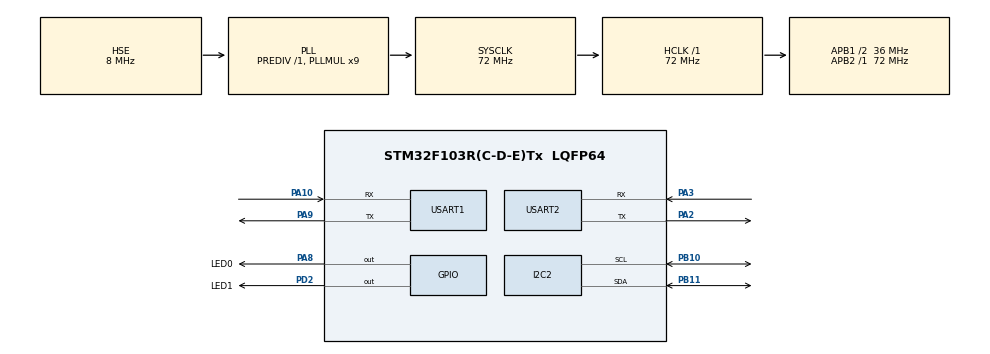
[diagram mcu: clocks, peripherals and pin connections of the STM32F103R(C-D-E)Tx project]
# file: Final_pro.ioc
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Dma.Request0=USART2_RX
Dma.Request1=USART2_TX
Dma.Request2=USART1_TX
Dma.Request3=USART1_RX
Dma.USART1_RX.3.Direction=DMA_PERIPH_TO_MEMORY
Dma.USART1_RX.3.Instance=DMA1_Channel5
Dma.USART1_RX.3.MemDataAlignment=DMA_MDATAALIGN_BYTE
Dma.USART1_RX.3.MemInc=DMA_MINC_ENABLE
Dma.USART1_RX.3.Mode=DMA_NORMAL
Dma.USART1_RX.3.PeriphDataAlignment=DMA_PDATAALIGN_BYTE
Dma.USART1_RX.3.PeriphInc=DMA_PINC_DISABLE
Dma.USART1_RX.3.Priority=DMA_PRIORITY_LOW
Dma.USART1_TX.2.Direction=DMA_MEMORY_TO_PERIPH
Dma.USART1_TX.2.Instance=DMA1_Channel4
Dma.USART1_TX.2.MemDataAlignment=DMA_MDATAALIGN_BYTE
Dma.USART1_TX.2.MemInc=DMA_MINC_ENABLE
Dma.USART1_TX.2.Mode=DMA_NORMAL
Dma.USART1_TX.2.PeriphDataAlignment=DMA_PDATAALIGN_BYTE
Dma.USART1_TX.2.PeriphInc=DMA_PINC_DISABLE
Dma.USART1_TX.2.Priority=DMA_PRIORITY_LOW
Dma.USART2_RX.0.Direction=DMA_PERIPH_TO_MEMORY
Dma.USART2_RX.0.Instance=DMA1_Channel6
Dma.USART2_RX.0.MemDataAlignment=DMA_MDATAALIGN_BYTE
Dma.USART2_RX.0.MemInc=DMA_MINC_ENABLE
Dma.USART2_RX.0.Mode=DMA_NORMAL
Dma.USART2_RX.0.PeriphDataAlignment=DMA_PDATAALIGN_BYTE
Dma.USART2_RX.0.PeriphInc=DMA_PINC_DISABLE
Dma.USART2_RX.0.Priority=DMA_PRIORITY_LOW
Dma.USART2_TX.1.Direction=DMA_MEMORY_TO_PERIPH
Dma.USART2_TX.1.Instance=DMA1_Channel7
Dma.USART2_TX.1.MemDataAlignment=DMA_MDATAALIGN_BYTE
Dma.USART2_TX.1.MemInc=DMA_MINC_ENABLE
Dma.USART2_TX.1.Mode=DMA_NORMAL
Dma.USART2_TX.1.PeriphDataAlignment=DMA_PDATAALIGN_BYTE
Dma.USART2_TX.1.PeriphInc=DMA_PINC_DISABLE
Dma.USART2_TX.1.Priority=DMA_PRIORITY_LOW
Mcu.Family=STM32F1
Mcu.Name=STM32F103R(C-D-E)Tx
Mcu.Package=LQFP64
NVIC.DMA1_Channel4_IRQn=true\:0\:0\:false\:false\:true\:false\:true
NVIC.DMA1_Channel5_IRQn=true\:0\:0\:false\:false\:true\:false\:true
NVIC.DMA1_Channel6_IRQn=true\:1\:0\:true\:false\:true\:false\:true
NVIC.DMA1_Channel7_IRQn=true\:0\:0\:false\:false\:true\:false\:true
NVIC.PriorityGroup=NVIC_PRIORITYGROUP_4
NVIC.TIM2_IRQn=true\:0\:0\:false\:false\:true\:true\:true
NVIC.USART1_IRQn=true\:0\:0\:false\:false\:true\:true\:true
NVIC.USART2_IRQn=true\:0\:0\:false\:false\:true\:true\:true
PA10.Mode=Asynchronous
PA10.Signal=USART1_RX
PA13.Mode=Serial_Wire
PA13.Signal=SYS_JTMS-SWDIO
PA14.Mode=Serial_Wire
PA14.Signal=SYS_JTCK-SWCLK
PA2.Mode=Asynchronous
PA2.Signal=USART2_TX
PA3.Mode=Asynchronous
PA3.Signal=USART2_RX
PA8.GPIO_Label=LED0
PA8.Signal=GPIO_Output
PA9.Mode=Asynchronous
PA9.Signal=USART1_TX
PB10.Mode=I2C
PB10.Signal=I2C2_SCL
PB11.Mode=I2C
PB11.Signal=I2C2_SDA
PD0-OSC_IN.Mode=HSE-External-Oscillator
PD0-OSC_IN.Signal=RCC_OSC_IN
PD1-OSC_OUT.Mode=HSE-External-Oscillator
PD1-OSC_OUT.Signal=RCC_OSC_OUT
PD2.GPIO_Label=LED1
PD2.Signal=GPIO_Output
ProjectManager.HeapSize=0x200
ProjectManager.StackSize=0x400
ProjectManager.TargetToolchain=STM32CubeIDE
RCC.AHBFreq_Value=72000000
RCC.APB1CLKDivider=RCC_HCLK_DIV2
RCC.APB1Freq_Value=36000000
RCC.APB1TimFreq_Value=72000000
RCC.APB2Freq_Value=72000000
RCC.APB2TimFreq_Value=72000000
RCC.HCLKFreq_Value=72000000
RCC.PLLMUL=RCC_PLL_MUL9
RCC.PLLSourceVirtual=RCC_PLLSOURCE_HSE
RCC.SYSCLKFreq_VALUE=72000000
RCC.SYSCLKSource=RCC_SYSCLKSOURCE_PLLCLK
RCC.USBFreq_Value=72000000
TIM2.Period=4999
TIM2.Prescaler=7199
USART1.VirtualMode=VM_ASYNC
USART2.VirtualMode=VM_ASYNC
VP_TIM2_VS_ClockSourceINT.Mode=Internal
board=custom

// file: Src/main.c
/* USER CODE BEGIN Header */
/**
 ******************************************************************************
 * @file           : main.c
 * @brief          : Main program body
 ******************************************************************************
 * @attention
 *
 * <h2><center>&copy; Copyright (c) 2019 STMicroelectronics.
 * All rights reserved.</center></h2>
 *
 * This software component is licensed by ST under BSD 3-Clause license,
 * the "License"; You may not use this file except in compliance with the
 * License. You may obtain a copy of the License at:
 *                        opensource.org/licenses/BSD-3-Clause
 *
 ******************************************************************************
 */
/* USER CODE END Header */

#include "main.h"
#include "dma.h"
#include "i2c.h"
#include "tim.h"
#include "usart.h"
#include "gpio.h"

/* USER CODE BEGIN Includes */
#include "MQTTPacket.h"
#include "ESP8266Client.h"
#include "MQTTPacket.h"
#include "transport.h"
#include "networkwrapper.h"
#include "stdio.h"
#include "fifo.h"
#include "bh1750_i2c_drv.h"
#include "topic_name_helper.h"
#include "wifi_credentials.h"
/* USER CODE END Includes */

/* USER CODE BEGIN PD */
//#define SERVER_ADDR ("129.226.168.220")
#define CONNECTION_KEEPALIVE_S 60UL
#define PUB_WAIT_TIMEOUT 200UL //ms
#define PUB_WAIT_TICK 5UL //ms
/* USER CODE END PD */

/* USER CODE BEGIN PM */
PUTCHAR_PROTO //重写fputc函数
{
	HAL_UART_Transmit(&huart1, (uint8_t*) &ch, 1, 0xffff);
	return ch;
}
/* USER CODE END PM */

/* USER CODE BEGIN PV */
uint8_t rxBuffer[RX_BUFFER_SIZE] = { 0 };
uint8_t debugSentBuffer[RX_BUFFER_SIZE];
extern UART_HandleTypeDef huart1;
extern UART_HandleTypeDef huart2;
extern TIM_HandleTypeDef htim2;
int recv_end_flag = 0;
int rx_len = 0;
struct fifo rxFifo;
uint8_t dat[2] = { 0 };
int ledMode = 2;
int ledSwitch = 0;
int lightSensorValue = 0;
int ledStatus = 0;
int MQTT_connected = 0;
/* USER CODE END PV */

void SystemClock_Config(void);
/* USER CODE BEGIN PFP */
void MqttHandlerTask();
int lightSensorLux();
void updateDeviceInfo();
/* USER CODE END PFP */

/* USER CODE BEGIN 0 */
long unsigned int network_gettime_ms(void) {
	return (HAL_GetTick());
}
/* USER CODE END 0 */

int main(void)
{

  /* MCU Configuration--------------------------------------------------------*/

  /* Reset of all peripherals, Initializes the Flash interface and the Systick. */
  HAL_Init();

  /* Configure the system clock */
  SystemClock_Config();

  /* Initialize all configured peripherals */
  MX_GPIO_Init();
  MX_I2C2_Init();
  MX_USART1_UART_Init();
  MX_DMA_Init();
  MX_USART2_UART_Init();
  MX_TIM2_Init();
  /* USER CODE BEGIN 2 */
	// HAL_UART_Receive_IT(&huart5, (uint8_t *)rxBuffer, 8);
	HAL_TIM_Base_Start_IT(&htim2);
	fifo_alloc(&rxFifo, FIFO_BUFFER_SIZE);
	HAL_UART_Receive_DMA(&huart2, rxBuffer, RX_BUFFER_SIZE);
	__HAL_UART_ENABLE_IT(&huart2, UART_IT_IDLE);
  /* USER CODE END 2 */

  /* Infinite loop */
  /* USER CODE BEGIN WHILE */
	HAL_GPIO_WritePin(LED0_GPIO_Port, LED1_Pin, SET);
	MqttHandlerTask();
	while (1) {
    /* USER CODE END WHILE */

	}
}

void SystemClock_Config(void)
{
  RCC_OscInitTypeDef RCC_OscInitStruct = {0};
  RCC_ClkInitTypeDef RCC_ClkInitStruct = {0};

  /** Initializes the CPU, AHB and APB busses clocks
  */
  RCC_OscInitStruct.OscillatorType = RCC_OSCILLATORTYPE_HSE;
  RCC_OscInitStruct.HSEState = RCC_HSE_ON;
  RCC_OscInitStruct.HSEPredivValue = RCC_HSE_PREDIV_DIV1;
  RCC_OscInitStruct.HSIState = RCC_HSI_ON;
  RCC_OscInitStruct.PLL.PLLState = RCC_PLL_ON;
  RCC_OscInitStruct.PLL.PLLSource = RCC_PLLSOURCE_HSE;
  RCC_OscInitStruct.PLL.PLLMUL = RCC_PLL_MUL9;
  if (HAL_RCC_OscConfig(&RCC_OscInitStruct) != HAL_OK)
  {
    Error_Handler();
  }
  /** Initializes the CPU, AHB and APB busses clocks
  */
  RCC_ClkInitStruct.ClockType = RCC_CLOCKTYPE_HCLK|RCC_CLOCKTYPE_SYSCLK
                              |RCC_CLOCKTYPE_PCLK1|RCC_CLOCKTYPE_PCLK2;
  RCC_ClkInitStruct.SYSCLKSource = RCC_SYSCLKSOURCE_PLLCLK;
  RCC_ClkInitStruct.AHBCLKDivider = RCC_SYSCLK_DIV1;
  RCC_ClkInitStruct.APB1CLKDivider = RCC_HCLK_DIV2;
  RCC_ClkInitStruct.APB2CLKDivider = RCC_HCLK_DIV1;

  if (HAL_RCC_ClockConfig(&RCC_ClkInitStruct, FLASH_LATENCY_2) != HAL_OK)
  {
    Error_Handler();
  }
}

/* USER CODE BEGIN 4 */
void MqttHandlerTask() {
	/* USER CODE BEGIN MqttHandlerTask */

	unsigned char buffer[128];
	MQTTTransport transporter;
	int result;
	int length;
	int startTime = HAL_GetTick();
	// Transport layer uses the esp8266 networkwrapper.
	static transport_iofunctions_t iof = { network_send, network_recv };
	int transport_socket = transport_open(&iof);

	// State machine.
	int internalState = 0;
	while (true) {
		switch (internalState) {
		case 0: {
			MQTT_connected = 0;
			// Initialize the network and connect to
			network_init();
			if (network_connect(SERVER_ADDR, 1883, CONNECTION_KEEPALIVE_S,
			false) == 0) {
				// To the next state.
				internalState++;
			}
		}
			break;
		case 1: {
			MQTT_connected = 0;
			// Populate the transporter.
			transporter.sck = &transport_socket;
			transporter.getfn = transport_getdatanb;
			transporter.state = 0;

			// Populate the connect struct.
			MQTTPacket_connectData connectData =
			MQTTPacket_connectData_initializer;
			connectData.MQTTVersion = 3;
			connectData.clientID.cstring = "LightSensor";
			connectData.keepAliveInterval = CONNECTION_KEEPALIVE_S * 2;
			length = MQTTSerialize_connect(buffer, sizeof(buffer),
					&connectData);

			// Send CONNECT to the mqtt broker.
			if ((result = transport_sendPacketBuffer(transport_socket, buffer,
					length)) == length) {
				// To the next state.
				internalState++;
			} else {
				// Start over.
				internalState = 0;
			}
		}
			break;
		case 2: {
			// Wait for CONNACK response from the mqtt broker.
			MQTT_connected = 0;
			while (true) {
				// Wait until the transfer is done.
				if ((result = MQTTPacket_readnb(buffer, sizeof(buffer),
						&transporter)) == CONNACK) {
					// Check if the connection was accepted.
					unsigned char sessionPresent, connack_rc;
					if ((MQTTDeserialize_connack(&sessionPresent, &connack_rc,
							buffer, sizeof(buffer)) != 1)
							|| (connack_rc != 0)) {
						// Start over.
						internalState = 0;
						break;
					} else {
						// To the next state.
						internalState++;
						break;
					}
				} else if (result == -1) {
					// Start over.
					internalState = 0;
					break;
				}
			}
		}
			break;
		case 3: {
			MQTT_connected = 0;
			// Populate the publish message.
			MQTTString leds_TopicString = MQTTString_initializer;
			MQTTString mode_TopicString = MQTTString_initializer;
			leds_TopicString.cstring = "leds";
			mode_TopicString.cstring = "mode";
			MQTTString topicFilters[2] = { leds_TopicString, mode_TopicString };
			int rQos[2] = { 0 };
			// length = MQTTSerialize_publish(buffer, sizeof(buffer), 0, 1, 0, 0,
			//                                topicString, payload, (length = sprintf(payload, "%d", lightSensorLux())));
			length = MQTTSerialize_subscribe(buffer, sizeof(buffer), 0, 9527, 2,
					topicFilters, rQos);

			// Send SUBSCRIBE to the mqtt broker.
			if ((result = transport_sendPacketBuffer(transport_socket, buffer,
					length)) == length) {
				// To the next state.
				internalState++;
				break;
			} else {
				// Start over.
				internalState = 0;
			}
		}
			break;
		case 4: {
			MQTT_connected = 0;
			// Wait for SUBACK response from the mqtt broker.
			while (true) {
				memset(buffer, 0, sizeof(buffer));
				// Wait until the transfer is done.
				if ((result = MQTTPacket_readnb(buffer, sizeof(buffer),
						&transporter)) == SUBACK) {
					// Check if the connection was accepted.
					unsigned char sessionPresent;
					int maxcount;
					int qCount;
					int qArray[5];
					if ((MQTTDeserialize_suback(&sessionPresent, 1, &qCount,
							qArray, buffer, sizeof(buffer)) == 1)) {
						internalState++;

						break;
					} else {
						internalState = 0;

						break;
					}
				} else if (result == -1) {
					// Start over.
					internalState = 0;
					break;
				}
			}
		}
			break;

		case 5: {
			static int pub_state;
			MQTT_connected = 1;
			// Populate the publish message.
			unsigned char payload[16];
			int rQos[1] = { 0 };
			MQTTString topicString = MQTTString_initializer;

			// Polling publish
			switch (pub_state) {
			case 0: {
				pub_state++;
				topicString.cstring = "ledmode";
				length = MQTTSerialize_publish(buffer, sizeof(buffer), 0, 1, 0,
						0, topicString, payload,
						(length = sprintf(payload, "%d", ledMode)));
			}
				break;
			case 1: {
				pub_state++;
				topicString.cstring = "light";
				length = MQTTSerialize_publish(buffer, sizeof(buffer), 0, 1, 0,
						0, topicString, payload,
						(length = sprintf(payload, "%d", lightSensorValue)));
			}
				break;
			case 2: {
				pub_state=0;
				topicString.cstring = "ledh";
				length = MQTTSerialize_publish(buffer, sizeof(buffer), 0, 1, 0,
						0, topicString, payload,
						(length = sprintf(payload, "%d", ledStatus)));
			}
				break;
			default:
				pub_state = 0;
				break;
			}

			if (recv_end_flag == 1) {
				internalState++;
				break;
			}
			// Send PUBLISH to the mqtt broker.
			if ((result = transport_sendPacketBuffer(transport_socket, buffer,
					length)) == length) {
				int len = sprintf(debugSentBuffer, "Published.\r\n");
				HAL_UART_Transmit_DMA(&huart1, debugSentBuffer, len);
				internalState++;
			} else {
				// Start over.
				internalState = 0;
			}
		}
			break;
		case 6: {
			MQTT_connected = 1;
			startTime = HAL_GetTick();
			// Wait for CONNACK response from the mqtt broker.
			static unsigned char buf[128];
			while (true) {
				memset(buf, 0, sizeof(buf));
				result = MQTTPacket_readnb(buf, sizeof(buffer), &transporter);
				// Wait until the transfer is done.
				if (result == PUBLISH) {

					unsigned char dup;
					int buflen = sizeof(buf);
					int qos;
					unsigned char retained;
					unsigned short msgid;
					int payloadlen_in;
					unsigned char *payload_in;
					int rc;
					char topicName[16] = { 0 };
					char *tnStart, *tnEnd;
					MQTTString receivedTopic;

					if (1
							!= MQTTDeserialize_publish(&dup, &qos, &retained,
									&msgid, &receivedTopic, &payload_in,
									&payloadlen_in, buf, buflen)) {
						if (HAL_GetTick() - startTime > PUB_WAIT_TIMEOUT) {
							internalState--;
							break;
						}
					} else {

						memcpy(topicName, receivedTopic.lenstring.data,
								receivedTopic.lenstring.len);
						int topic = getTopicCode(topicName);
						switch (topic) {
						case LEDS_TOPIC: {
							ledSwitch = getPayLoadValue(payload_in);
							if (ledMode == 1)
								HAL_GPIO_WritePin(LED0_GPIO_Port, LED0_Pin,
										!ledSwitch);
						}
							break;
						case MODE_TOPIC: {
							ledMode = getPayLoadValue(payload_in);
						}
							break;

						default:
							break;
						}

						// To the next state.
						recv_end_flag = 0;
						internalState--;
						break;
					}
				} else if (result == -1) {
					// Start over.
					internalState = 0;
					break;
				}
				// result !=0 and timeout
				else if (HAL_GetTick() - startTime > PUB_WAIT_TIMEOUT) {
					recv_end_flag = 0;
					internalState--;
					break;
				}
				// result !=0 and not timeout
				else {
					// updateDeviceInfo();
					HAL_Delay(PUB_WAIT_TICK);
				}
			}
		}
			break;
		default:
			internalState = 0;
		}
	}
	/* USER CODE END MqttHandlerTask */
}

int lightSensorLux() {
	if (HAL_OK == BH1750_Send_Cmd(ONCE_L_MODE)) {
		if (HAL_OK == BH1750_Read_Dat(dat))
			return BH1750_Dat_To_Lux(dat);
		else
			return -1;
	}
}

void updateDeviceInfo() {
	ledStatus = HAL_GPIO_ReadPin(LED0_GPIO_Port, LED0_Pin);
	ledStatus = !ledStatus;
	lightSensorValue = lightSensorLux();
	if (ledMode == 2)      // Auto mode
			{
		HAL_GPIO_WritePin(LED0_GPIO_Port, LED0_Pin, lightSensorValue >= 50);
	} else if (ledMode == 1) {      // Manual mode
		HAL_GPIO_WritePin(LED0_GPIO_Port, LED0_Pin, !ledSwitch);
	}
}

void HAL_TIM_PeriodElapsedCallback(TIM_HandleTypeDef *htim) {
	if (htim->Instance == TIM2) {
		updateDeviceInfo();
		if (MQTT_connected) {
			HAL_GPIO_TogglePin(LED1_GPIO_Port, LED1_Pin);
		} else {
			HAL_GPIO_WritePin(LED1_GPIO_Port, LED1_Pin, SET);
		}
	}
}
/* USER CODE END 4 */

void Error_Handler(void)
{
}

/************************ (C) COPYRIGHT STMicroelectronics *****END OF FILE****/
